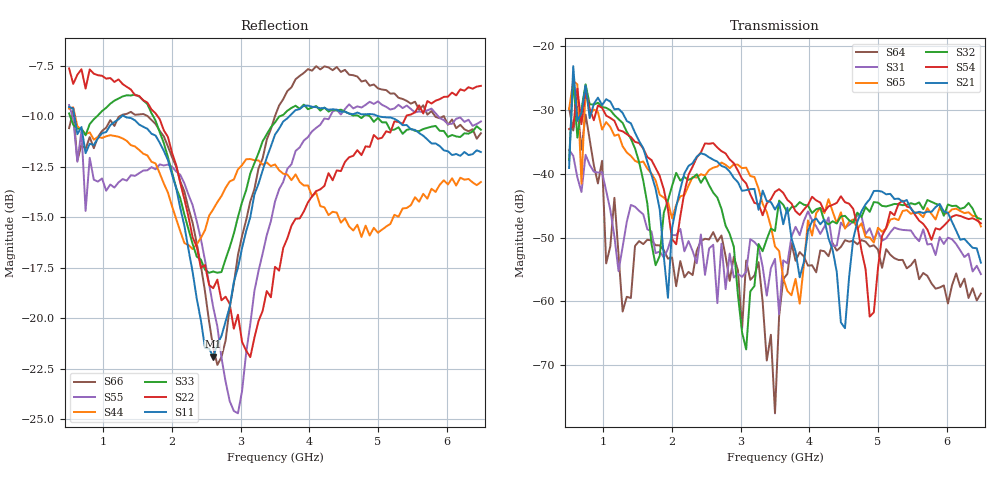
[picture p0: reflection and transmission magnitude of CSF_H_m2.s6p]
!Keysight Technologies,M9804A,MY58100912,A.14.10.03
!Date: Thursday, April 27, 2023 10:28:33
!Correction: S11(C  6-Port  )
!S12(C  6-Port  )
!S13(C  6-Port  )
!S14(C  6-Port  )
!S15(C  6-Port  )
!S16(C  6-Port  )
!S21(C  6-Port  )
!S22(C  6-Port  )
!S23(C  6-Port  )
!S24(C  6-Port  )
!S25(C  6-Port  )
!S26(C  6-Port  )
!S31(C  6-Port  )
!S32(C  6-Port  )
!S33(C  6-Port  )
!S34(C  6-Port  )
!S35(C  6-Port  )
!S36(C  6-Port  )
!S41(C  6-Port  )
!S42(C  6-Port  )
!S43(C  6-Port  )
!S44(C  6-Port  )
!S45(C  6-Port  )
!S46(C  6-Port  )
!S51(C  6-Port  )
!S52(C  6-Port  )
!S53(C  6-Port  )
!S54(C  6-Port  )
!S55(C  6-Port  )
!S56(C  6-Port  )
!S61(C  6-Port  )
!S62(C  6-Port  )
!S63(C  6-Port  )
!S64(C  6-Port  )
!S65(C  6-Port  )
!S66(C  6-Port  )
!S6P File: Measurement: :
# Hz S  RI  R 50
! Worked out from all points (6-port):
!   101 points, 500 MHz to 6.5 GHz, reference 50 ohm
!   strongest paths, dB at 500 MHz, 2 GHz, 3.5 GHz, 5 GHz, 6.5 GHz:
!     S21: -39.1, -48.5, -45.6, -42.7, -53.9
!     S54: -33.0, -50.2, -42.8, -54.8, -47.8
!     S32: -37.9, -41.9, -49.0, -44.5, -47.1
!     S65: -29.9, -47.0, -51.4, -48.5, -48.3
!     S31: -36.3, -49.6, -53.3, -49.0, -55.7
!     S64: -29.7, -53.1, -77.5, -51.9, -58.8
!   lowest |S11| = -21.9 dB at 2.6 GHz (marker M1), VSWR 1.17, Z = 42.8 + j1.97 ohm
!   |S11| at or under -10 dB: 578 MHz to 1.267 GHz (689.3 MHz wide, 74.7 % of centre); 1.304 GHz to 3.71 GHz (2.406 GHz wide, 96 % of centre); 5.006 GHz to end of sweep
